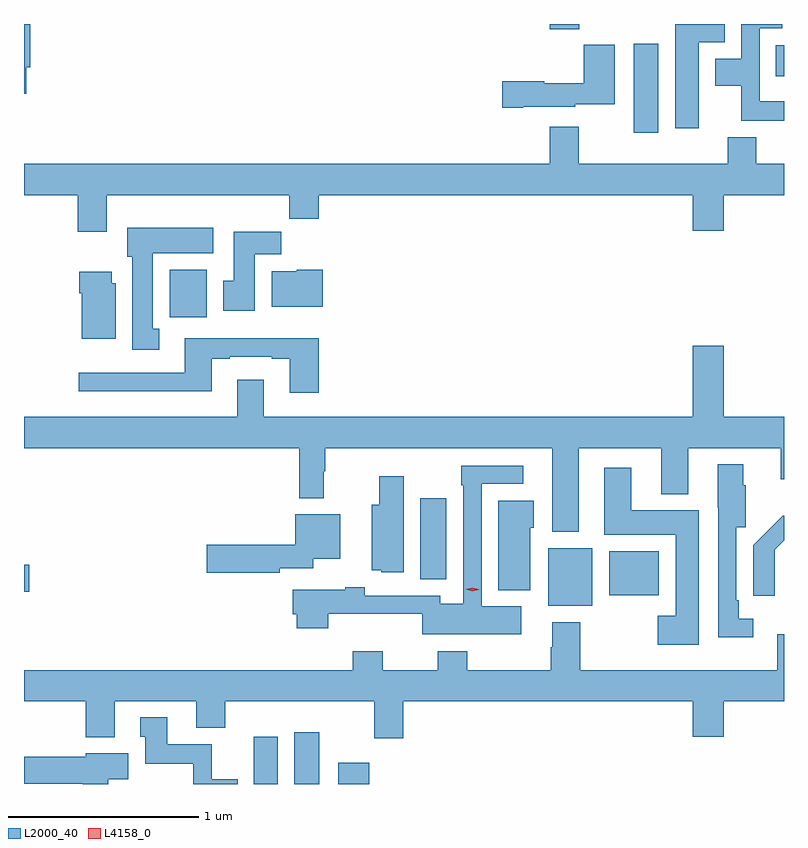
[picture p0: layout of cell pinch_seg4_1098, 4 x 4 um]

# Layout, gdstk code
import gdstk
lib = gdstk.Library(unit=1e-6, precision=1e-09)
def R(c, l, rs):  # rectangles x0, y0, x1, y1
    for r in rs: c.add(gdstk.rectangle(r[:2], r[2:], *l))
def P(c, l, *ps):  # polygons
    for p in ps: c.add(gdstk.Polygon(p, *l))
L2000_40 = (2000, 40)
L4158_0 = (4158, 0)

pinch_seg4_1098 = lib.new_cell('pinch_seg4_1098')
R(pinch_seg4_1098, L2000_40, [(426.434,797.716,426.559,797.965), (426.647,797.716,426.778,797.989), (426.878,797.716,427.042,797.827), (427.982,798.653,428.215,798.958), (428.303,798.71,428.566,798.94), (425.224,798.727,425.251,798.869), (427.31,798.793,427.447,799.219), (425.991,800.172,426.187,800.422), (428.432,801.144,428.563,801.613), (429.181,801.44,429.224,801.604), (427.991,801.689,428.146,801.716)])
P(pinch_seg4_1098, L2000_40, [(428.776,801.62),(428.911,801.62),(428.911,801.716),(428.651,801.716),(428.651,801.168),(428.776,801.168)],
  [(429.224,801.31),(429.096,801.31),(429.096,801.693),(429.214,801.693),(429.214,801.716),(429,801.716),(429,801.532),(428.861,801.532),(428.861,801.392),(428.998,801.392),(428.998,801.206),(429.224,801.206)],
  [(425.237,801.489),(425.258,801.489),(425.258,801.716),(425.224,801.716),(425.224,801.349),(425.237,801.349)],
  [(427.852,801.281),(428.124,801.281),(428.124,801.293),(428.332,801.293),(428.332,801.607),(428.17,801.607),(428.17,801.403),(427.962,801.403),(427.962,801.416),(427.74,801.416),(427.74,801.274),(427.852,801.274)],
  [(425.659,800.816),(426.619,800.816),(426.619,800.692),(426.776,800.692),(426.776,800.816),(428.744,800.816),(428.744,800.628),(428.908,800.628),(428.908,800.816),(429.224,800.816),(429.224,800.98),(429.079,800.98),(429.079,801.121),(428.927,801.121),(428.927,800.98),(428.143,800.98),(428.143,801.175),(427.991,801.175),(427.991,800.98),(425.224,800.98),(425.224,800.816),(425.507,800.816),(425.507,800.622),(425.659,800.622)],
  [(425.935,800.113),(425.902,800.113),(425.902,800.51),(426.22,800.51),(426.22,800.644),(425.768,800.644),(425.768,800.49),(425.795,800.49),(425.795,800.001),(425.935,800.001)],
  [(426.439,800.504),(426.578,800.504),(426.578,800.623),(426.329,800.623),(426.329,800.364),(426.272,800.364),(426.272,800.208),(426.439,800.208)],
  [(426.796,800.422),(426.66,800.422),(426.66,800.416),(426.527,800.416),(426.527,800.228),(426.796,800.228)],
  [(425.707,800.352),(425.686,800.352),(425.686,800.413),(425.516,800.413),(425.516,800.3),(425.528,800.3),(425.528,800.06),(425.707,800.06)],
  [(426.776,800.062),(426.071,800.062),(426.071,799.881),(425.511,799.881),(425.511,799.784),(426.211,799.784),(426.211,799.953),(426.307,799.953),(426.307,799.965),(426.527,799.965),(426.527,799.953),(426.623,799.953),(426.623,799.776),(426.776,799.776)],
  [(428.143,799.484),(428.579,799.484),(428.579,799.241),(428.719,799.241),(428.719,799.484),(429.206,799.484),(429.206,799.32),(429.224,799.32),(429.224,799.648),(428.908,799.648),(428.908,800.023),(428.744,800.023),(428.744,799.648),(426.487,799.648),(426.487,799.843),(426.347,799.843),(426.347,799.648),(425.224,799.648),(425.224,799.484),(426.673,799.484),(426.673,799.221),(426.802,799.221),(426.802,799.361),(426.809,799.361),(426.809,799.484),(428.003,799.484),(428.003,799.043),(428.143,799.043)],
  [(429.061,798.585),(428.985,798.585),(428.985,798.682),(428.973,798.682),(428.973,799.068),(429.023,799.068),(429.023,799.289),(429.01,799.289),(429.01,799.399),(428.876,799.399),(428.876,799.171),(428.877,799.171),(428.877,798.488),(429.061,798.488)],
  [(427.84,798.652),(427.632,798.652),(427.632,799.296),(427.852,799.296),(427.852,799.392),(427.524,799.392),(427.524,799.289),(427.536,799.289),(427.536,798.664),(427.416,798.664),(427.416,798.708),(427.018,798.708),(427.018,798.752),(426.914,798.752),(426.914,798.739),(426.638,798.739),(426.638,798.61),(426.659,798.61),(426.659,798.536),(426.824,798.536),(426.824,798.611),(427.32,798.611),(427.32,798.503),(427.84,798.503)],
  [(428.776,799.156),(428.419,799.156),(428.419,799.381),(428.279,799.381),(428.279,799.028),(428.654,799.028),(428.654,798.601),(428.559,798.601),(428.559,798.449),(428.776,798.449)],
  [(427.222,799.336),(427.093,799.336),(427.093,799.186),(427.055,799.186),(427.055,798.842),(427.104,798.842),(427.104,798.83),(427.222,798.83)],
  [(427.888,799.065),(427.906,799.065),(427.906,799.207),(427.721,799.207),(427.721,798.737),(427.888,798.737)],
  [(426.57,798.851),(426.747,798.851),(426.747,798.902),(426.889,798.902),(426.889,799.135),(426.651,799.135),(426.651,798.974),(426.186,798.974),(426.186,798.827),(426.57,798.827)],
  [(429.174,798.948),(429.224,798.998),(429.224,799.129),(429.217,799.129),(429.136,799.047),(429.136,799.046),(429.062,798.972),(429.062,798.708),(429.174,798.708)],
  [(427.22,798.152),(428.744,798.152),(428.744,797.964),(428.908,797.964),(428.908,798.152),(429.224,798.152),(429.224,798.505),(429.188,798.505),(429.188,798.316),(428.151,798.316),(428.151,798.568),(428.003,798.568),(428.003,798.437),(427.996,798.437),(427.996,798.316),(427.557,798.316),(427.557,798.415),(427.402,798.415),(427.402,798.316),(427.113,798.316),(427.113,798.415),(426.953,798.415),(426.953,798.316),(425.224,798.316),(425.224,798.152),(425.549,798.152),(425.549,797.963),(425.701,797.963),(425.701,798.152),(426.131,798.152),(426.131,798.011),(426.284,798.011),(426.284,798.152),(427.067,798.152),(427.067,797.958),(427.22,797.958)],
  [(426.349,797.74),(426.213,797.74),(426.213,797.926),(425.977,797.926),(425.977,798.067),(425.837,798.067),(425.837,797.964),(425.861,797.964),(425.861,797.822),(426.114,797.822),(426.114,797.716),(426.349,797.716)],
  [(425.668,797.74),(425.773,797.74),(425.773,797.878),(425.55,797.878),(425.55,797.859),(425.224,797.859),(425.224,797.717),(425.534,797.717),(425.534,797.716),(425.668,797.716)])
P(pinch_seg4_1098, L4158_0, [(427.583,798.73),(427.548,798.741),(427.548,798.741),(427.548,798.741),(427.583,798.75),(427.618,798.74),(427.618,798.74),(427.618,798.739)])

lib.write_gds('pinch_seg4_1098.gds')
